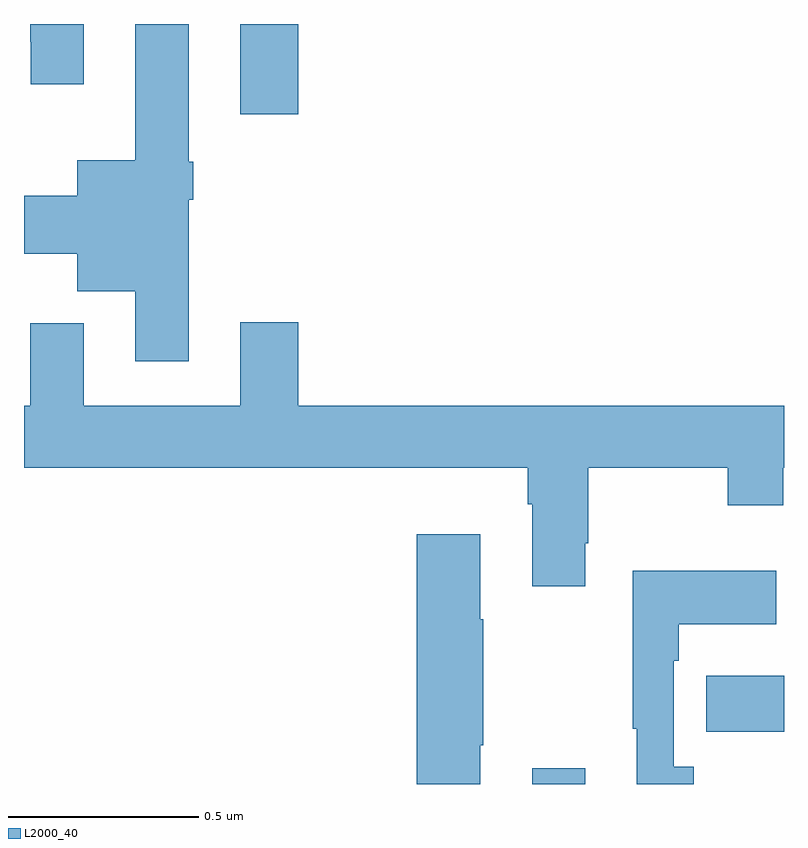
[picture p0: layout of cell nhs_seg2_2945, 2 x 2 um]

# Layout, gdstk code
import gdstk
lib = gdstk.Library(unit=1e-6, precision=1e-09)
def R(c, l, rs):  # rectangles x0, y0, x1, y1
    for r in rs: c.add(gdstk.rectangle(r[:2], r[2:], *l))
def P(c, l, *ps):  # polygons
    for p in ps: c.add(gdstk.Polygon(p, *l))
L2000_40 = (2000, 40)

nhs_seg2_2945 = lib.new_cell('nhs_seg2_2945')
R(nhs_seg2_2945, L2000_40, [(148.337,650.8,148.477,650.842), (148.795,650.938,149,651.085), (147.569,652.563,147.722,652.8)])
P(nhs_seg2_2945, L2000_40, [(147.157,652.8),(147.017,652.8),(147.017,652.753),(147.018,652.753),(147.018,652.641),(147.157,652.641)],
  [(147.433,652.337),(147.446,652.337),(147.446,652.437),(147.433,652.437),(147.433,652.8),(147.293,652.8),(147.293,652.441),(147.14,652.441),(147.14,652.348),(147,652.348),(147,652.196),(147.14,652.196),(147.14,652.097),(147.293,652.097),(147.293,651.912),(147.433,651.912)],
  [(148.477,651.433),(148.485,651.433),(148.485,651.632),(148.852,651.632),(148.852,651.533),(148.998,651.533),(148.998,651.632),(149,651.632),(149,651.796),(147.722,651.796),(147.722,652.015),(147.569,652.015),(147.569,651.796),(147.157,651.796),(147.157,652.012),(147.017,652.012),(147.017,651.796),(147,651.796),(147,651.632),(148.325,651.632),(148.325,651.536),(148.337,651.536),(148.337,651.321),(148.477,651.321)],
  [(148.201,650.902),(148.209,650.902),(148.209,651.233),(148.201,651.233),(148.201,651.457),(148.034,651.457),(148.034,650.8),(148.201,650.8)],
  [(148.762,650.846),(148.71,650.846),(148.71,651.125),(148.723,651.125),(148.723,651.221),(148.979,651.221),(148.979,651.361),(148.602,651.361),(148.602,650.945),(148.613,650.945),(148.613,650.8),(148.762,650.8)])

lib.write_gds('nhs_seg2_2945.gds')
